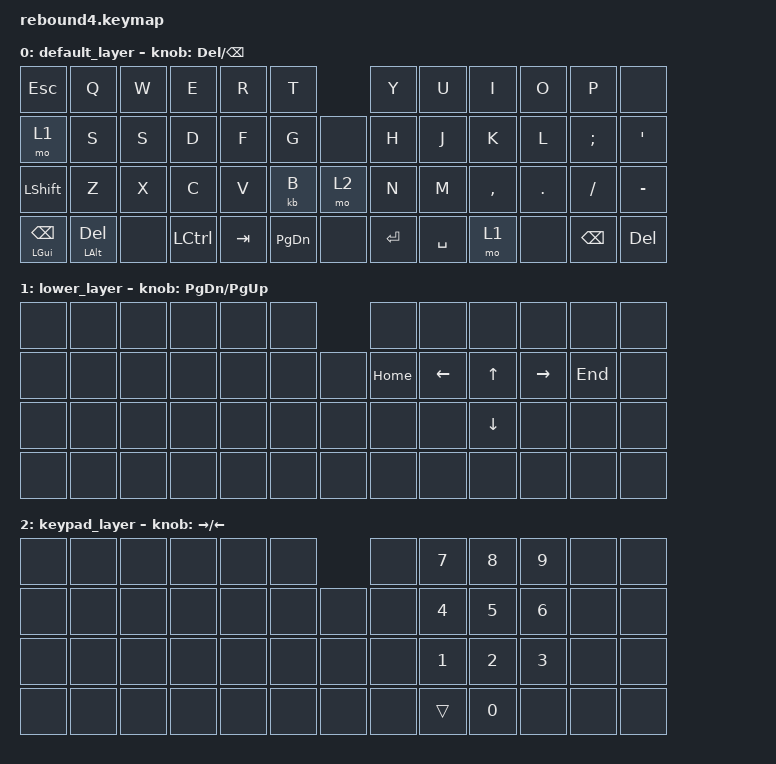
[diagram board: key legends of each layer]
/*
 * Copyright (c) 2020 The ZMK Contributors
 *
 * SPDX-License-Identifier: MIT
 */

#include <behaviors.dtsi>
#include <dt-bindings/zmk/keys.h>
#include <dt-bindings/zmk/bt.h>
#include <dt-bindings/zmk/modifiers.h>
#include <dt-bindings/zmk/outputs.h>

/ {
    behaviors {
        hm: homerow_mods {
            compatible = "zmk,behavior-hold-tap";
            label = "HOMEROW_MODS";
            #binding-cells = <2>;
            tapping_term_ms = <175>;
            flavor = "tap-preferred";
            bindings = <&kp>, <&kp>;
        };
    };

    keymap {
        compatible = "zmk,keymap";

        default_layer {
// -------------------------------------------------------------------------------------
// |   Q   |   W   |   E   |    R   |  T  |  1   |                |  1  |    Y   |    U   |   I   |   O   |   P   |
// | GUI/A | ALT/S | CTL/D | SHFT/F |  G  |  2   |    | TAB  |    |  2  |    H   | SHFT/J | CTL/K | ALT/L | GUI/' |
// |   Z   |   X   |   C   |    V   |  B  |  3   |    | RET  |    |  3  |    N   |    M   |   ,   |   .   |   /   |
// | CTRL  |  ALT  |  GUI  |  SHFT  | DEL | BSPC |    | CAPS |    | SPC |optional|   GUI  |  ALT  |  CTRL |   ;   |
//                         					  
		bindings = <
   &kp ESC       &kp Q        &kp W       &kp E       &kp R    &kp T               &kp Y     &kp U     &kp I       &kp O       &kp P      &none
   &mo 1         &kp S        &kp S       &kp D       &kp F    &kp G     &none     &kp H     &kp J     &kp K       &kp L       &kp SEMI   &kp SQT
   &kp LSHFT     &kp Z        &kp X       &kp C       &kp V    &kb B     &mo 2     &kp N     &kp M     &kp COMMA   &kp DOT     &kp FSLH   &kp MINUS  
   &hm LGUI BSPC &hm LALT DEL &none       &kp LCTRL   &kp TAB  &kp PG_DN &none     &kp ENTER &kp SPACE &mo 1       &none       &kp BSPC   &kp DEL                   
                        >;

			sensor-bindings = <&inc_dec_kp DEL BSPC>;
                };

        lower_layer {
// ----------------------------------------------------------------------------------
// |  !   |  @  |  #  |  $  |  %  |  `  |                   |     | HOME | PGUP |  UP  | PGDN |      |
// |  ^   |  &  |  *  |  (  |  )  |  ~  |     |       |     |     | END  | LEFT | DOWN | RGHT |      |
// |  _   |  +  |  {  |  }  | "|" |     |     |       |     |     |      |      |      |      |      |
// | ESC  | ALT | GUI | CAPS|  "  |     |     |       |     |     |      |      |      |      |      | 
//
		bindings = < 
   &none     &none    &none    &none    &none     &none                     &none    &none    &none     &none     &none     &none   
   &none     &none    &none    &none    &none     &none         &none       &kp HOME &kp LEFT &kp UP    &kp RIGHT &kp END   &none
   &none     &none    &none    &none    &none     &none         &none       &none    &none    &kp DOWN  &none     &none     &none
   &none     &none    &none    &none    &none     &none         &none       &none    &none    &none     &none     &none     &none
                        >;

			sensor-bindings = <&inc_dec_kp PG_DN PG_UP>;
                };

        keypad_layer {
// -----------------------------------------------------------------------------------------
// |  -  |  9  |  8  |  7  | NUM |     |                   |     | NUM |  7  |  8  |  9  |  -  |
// |  +  |  6  |  5  |  4  |  /  |     |     |       |     |     |  /  |  4  |  5  |  6  |  +  |
// |  =  |  3  |  2  |  1  |  *  |     |     |       |     |     |  *  |  1  |  2  |  3  |  =  |
// | RET |  .  |  0  |  0  | CLR |     |     |       |     |     | CLR |  0  |  0  |  .  | RET | 
//                                            
		bindings = <
   &none     &none    &none    &none    &none     &none                     &none  &kp 7    &kp 8     &kp 9    &none     &none   
   &none     &none    &none    &none    &none     &none         &none       &none  &kp 4    &kp 5     &kp 6    &none     &none
   &none     &none    &none    &none    &none     &none         &none       &none  &kp 1    &kp 2     &kp 3    &none     &none
   &none     &none    &none    &none    &none     &none         &none       &none  &trans   &kp 0     &none    &none     &none
                        >;

			sensor-bindings = <&inc_dec_kp RIGHT LEFT>;
                };
	};
};
